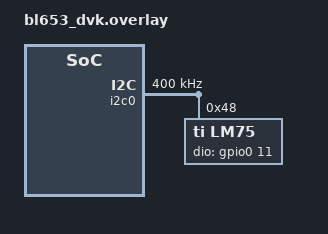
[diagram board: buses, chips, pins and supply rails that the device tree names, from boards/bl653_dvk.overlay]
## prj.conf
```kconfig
# nothing here
#C++ support configs
CONFIG_CPLUSPLUS=y
CONFIG_NEWLIB_LIBC=y
CONFIG_LIB_CPLUSPLUS=y
CONFIG_HEAP_MEM_POOL_SIZE=16348

CONFIG_STDOUT_CONSOLE=y
CONFIG_LOG=y

CONFIG_I2C=y
CONFIG_SENSOR=y
CONFIG_LM75=y

#GPIO
CONFIG_GPIO=y


CONFIG_OPENOCD_SUPPORT=n

#CONFIG_CBPRINTF_FP_SUPPORT=y
```

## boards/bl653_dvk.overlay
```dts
/*
 * Copyright (c) 2022 Nordic Semiconductor ASA
 *
 * SPDX-License-Identifier: Apache-2.0
 */
 
&i2c0 { /* SDA P0.26, SCL P0.27, ALERT P0.11 */
	status = "okay";
	clock-frequency = <I2C_BITRATE_FAST>;
	lm75@48 {
		compatible = "ti,lm75";
		label = "LM75";
		dio-gpios = <&gpio0 11 GPIO_ACTIVE_HIGH>;
		reg = <0x48>;
		lm75;
	};
};
	
```

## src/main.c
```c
#include <zephyr.h>
#include <device.h>
#include <devicetree.h>
#include <stdio.h>
#include <string.h>
#include <drivers/i2c.h>
#include <drivers/gpio.h>
#include <drivers/sensor.h>
#include <drivers/uart.h>

// set the led sleep time
#define SLEEP_TIME_MS  500
#define TIME_PERIOD 2000
#define DURATION 1   // in minutes

// port
const char *gpio0port = "GPIO_0";
const char *uart0port = "UART_0";
const char *i2c0port = "I2C_0";

// device structure
const struct device *m_dev_gpio0;
const struct device *m_dev_uart0;
const struct device *m_dev_nrf5;
const struct device *m_dev_lm75;

// set the pin no for gpio
gpio_pin_t pwr3v3pin = 31;
gpio_flags_t pwrflag = GPIO_OUTPUT | GPIO_ACTIVE_HIGH;

// Config structure for uart
struct uart_config cfg_uart1;

// Sensor value structure
struct sensor_value temperature;
struct sensor_value nrf5_temperature;

void enable_uart(void);    					// enable uart and gpio
void enable_gpio(void);
//void init_lm75(void);      					// initialize temp sensor with LM75 and nrf5
void init_nrf5(void);
//int32_t read_temperature(void);            // read temprature value from sensor and return temp value
int32_t read_temperature_nrf5(void);

static struct k_timer timer;
static uint8_t count =0;
static void timer_expire(struct k_timer *timer)
{
	count++;
	printk("\n Time Expire..");
	if(count == 1)
	{
		k_timer_stop(timer);
	}
}

static void timer_stop(struct k_timer *timer)
{
	printk("\n Timer stop..");
}
void main(void)
{
	k_sleep(K_SECONDS(1));
	printk("\n Temparature sensor reading using LM75....\n");
	enable_gpio();
	gpio_pin_set(m_dev_gpio0, pwr3v3pin, 1);
	k_sleep(K_MSEC(100));
	enable_uart();
	//init_lm75();
	init_nrf5();
	k_timer_init(&timer, timer_expire,timer_stop);
	k_timer_start(&timer,K_SECONDS(60),K_SECONDS(5));
	while(count == 0)
	{
		read_temperature_nrf5();
	}
	
}

void enable_uart(void)
{
    int ret;
	cfg_uart1.baudrate = 115200;
	cfg_uart1.parity = UART_CFG_PARITY_NONE;
	cfg_uart1.stop_bits = UART_CFG_STOP_BITS_1;
	cfg_uart1.data_bits = UART_CFG_DATA_BITS_8;
	cfg_uart1.flow_ctrl = UART_CFG_FLOW_CTRL_NONE;

	m_dev_uart0 = device_get_binding(uart0port);
	if(m_dev_gpio0 == NULL)
	{
		printk("Device Binding for UART 0 failed\n");
	}
	else
	{
		printk("Device Binding for UART 0 success\n");
	}
	ret = uart_configure(m_dev_uart0, &cfg_uart1);
	if(ret ==0)
	{
		printk("Configuration of UART 0 success\n");
	}
	else
	{
		printk("Configuration of UART 0 failed\n");
	}

}
void enable_gpio(void)
{
	int ret;
	m_dev_gpio0 = device_get_binding(gpio0port);
	if(m_dev_gpio0 == NULL)
	{
		printk("Device Binding for GPIO 0 failed\n");
	}
	else
	{
		printk("Device Binding for GPIO 0 success\n");
	}
	ret = gpio_pin_configure(m_dev_gpio0,pwr3v3pin,pwrflag);
	if(ret ==0)
	{
		printk("Configuration of GPIO pin success\n");
	}
	else
	{
		printk("Configuration of GPIO pin failed\n");
	}

}

void init_nrf5(void)
{
	m_dev_nrf5 = device_get_binding("TEMP_0");
	if(m_dev_nrf5 == NULL)
	{
		printk("Device Binding for nrf5 failed\n");
	}
	else
	{
		printk("Device Binding for nrf5 success\n");
	}
}

int32_t read_temperature_nrf5(void)
{
	int sample_fatch_nrf5;
	int  reading_frm_sensor_nrf;
	sample_fatch_nrf5 = sensor_sample_fetch(m_dev_nrf5);
	if(sample_fatch_nrf5 != 0)
	{
		printk(" Nrf5 sensor unable to fatch\n");
	}
	else
	{
		reading_frm_sensor_nrf = sensor_channel_get(m_dev_nrf5,SENSOR_CHAN_DIE_TEMP, &nrf5_temperature);
		if(reading_frm_sensor_nrf == 0)
		{
			printk("\nNrf5_Temprature is : %d.%d \t",nrf5_temperature.val1,nrf5_temperature.val2);
			if((26> nrf5_temperature.val1) && (nrf5_temperature.val1 >22))
			{
				//temp_flag =0;
			}
			else
			{
				//temp_flag = 1;
			}
		}
		else
		{
			printk("\nNrf5 failed to read Temprature");
		}
		k_sleep(K_MSEC(SLEEP_TIME_MS));

	}

}
```
